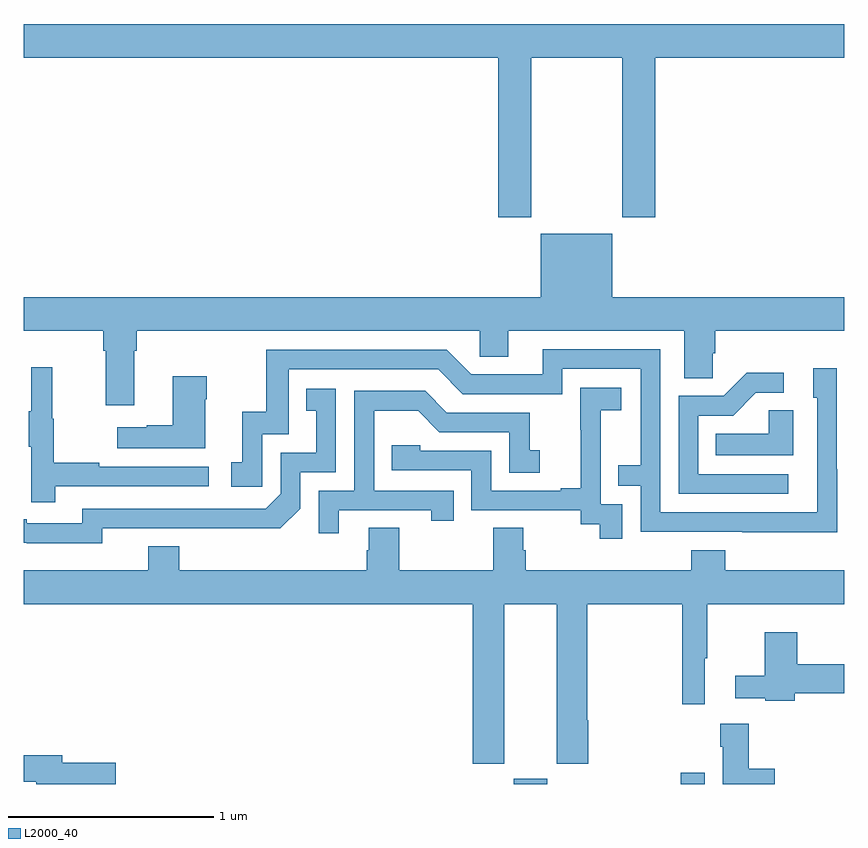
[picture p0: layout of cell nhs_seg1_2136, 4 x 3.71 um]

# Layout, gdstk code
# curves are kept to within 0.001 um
import gdstk
lib = gdstk.Library(unit=1e-6, precision=1e-09)
def R(c, l, rs):  # rectangles x0, y0, x1, y1
    for r in rs: c.add(gdstk.rectangle(r[:2], r[2:], *l))
def P(c, l, *ps):  # polygons
    for p in ps: c.add(gdstk.Polygon(p, *l))
L2000_40 = (2000, 40)

nhs_seg1_2136 = lib.new_cell('nhs_seg1_2136')
R(nhs_seg1_2136, L2000_40, [(229.388,540.199,229.552,540.225), (230.203,540.199,230.319,540.253)])
P(nhs_seg1_2136, L2000_40, [(229.473,543.74),(229.918,543.74),(229.918,542.961),(230.078,542.961),(230.078,543.74),(231,543.74),(231,543.904),(227,543.904),(227,543.74),(229.313,543.74),(229.313,542.961),(229.473,542.961)],
  [(227.539,542.312),(227.552,542.312),(227.552,542.408),(229.224,542.408),(229.224,542.281),(229.363,542.281),(229.363,542.408),(230.219,542.408),(230.219,542.176),(230.358,542.176),(230.358,542.299),(230.372,542.299),(230.372,542.408),(231,542.408),(231,542.572),(229.87,542.572),(229.87,542.881),(229.52,542.881),(229.52,542.572),(227,542.572),(227,542.408),(227.387,542.408),(227.387,542.312),(227.399,542.312),(227.399,542.046),(227.539,542.046)],
  [(230.967,541.733),(230.964,541.733),(230.964,542.227),(230.849,542.227),(230.849,542.082),(230.868,542.082),(230.868,541.524),(230.103,541.524),(230.103,542.319),(229.529,542.319),(229.529,542.196),(229.182,542.196),(229.062,542.316),(228.183,542.316),(228.183,542.014),(228.065,542.014),(228.065,541.767),(228.012,541.767),(228.012,541.647),(228.162,541.647),(228.162,541.905),(228.291,541.905),(228.291,542.22),(229.02,542.22),(229.14,542.1),(229.626,542.1),(229.626,542.223),(230.007,542.223),(230.007,541.754),(229.897,541.754),(229.897,541.653),(230.007,541.653),(230.007,541.428),(230.967,541.427)],
  [(227.153,541.65),(227.902,541.65),(227.902,541.746),(227.369,541.746),(227.369,541.766),(227.146,541.766),(227.146,541.98),(227.138,541.98),(227.138,542.23),(227.036,542.23),(227.036,542.017),(227.025,542.017),(227.025,541.843),(227.036,541.843),(227.036,541.572),(227.153,541.572)],
  [(230.728,541.71),(230.289,541.71),(230.289,541.995),(230.458,541.995),(230.569,542.106),(230.704,542.106),(230.704,542.204),(230.525,542.204),(230.412,542.091),(230.193,542.091),(230.193,541.614),(230.728,541.614)],
  [(227.884,542.075),(227.892,542.075),(227.892,542.188),(227.726,542.188),(227.726,541.949),(227.6,541.949),(227.6,541.939),(227.457,541.939),(227.457,541.835),(227.884,541.835)],
  [(229.917,541.563),(229.812,541.563),(229.812,541.793),(229.814,541.793),(229.814,542.021),(229.912,542.021),(229.912,542.131),(229.714,542.131),(229.714,541.925),(229.715,541.925),(229.715,541.642),(229.619,541.642),(229.619,541.629),(229.278,541.629),(229.278,541.824),(228.933,541.824),(228.933,541.851),(228.793,541.851),(228.793,541.728),(229.182,541.728),(229.182,541.533),(229.716,541.533),(229.716,541.465),(229.809,541.465),(229.809,541.395),(229.917,541.395)],
  [(227.382,541.446),(228.25,541.445),(228.348,541.542),(228.348,541.719),(228.522,541.719),(228.522,542.125),(228.376,542.125),(228.376,542.019),(228.425,542.019),(228.425,541.815),(228.252,541.815),(228.252,541.614),(228.18,541.542),(227.286,541.542),(227.286,541.47),(227.014,541.47),(227.014,541.49),(227,541.49),(227,541.374),(227.382,541.373)],
  [(228.535,541.533),(228.986,541.533),(228.986,541.482),(229.097,541.482),(229.097,541.629),(228.708,541.629),(228.708,542.018),(228.922,542.018),(229.026,541.914),(229.368,541.914),(229.368,541.716),(229.516,541.716),(229.516,541.825),(229.467,541.825),(229.467,542.01),(229.063,542.01),(228.958,542.115),(228.612,542.115),(228.612,541.629),(228.438,541.629),(228.438,541.422),(228.535,541.422)],
  [(230.752,542.021),(230.631,542.021),(230.631,541.906),(230.374,541.906),(230.374,541.802),(230.752,541.802)],
  [(229.342,541.076),(229.598,541.076),(229.598,540.297),(229.751,540.297),(229.751,540.509),(229.746,540.509),(229.746,541.076),(230.211,541.076),(230.211,540.588),(230.32,540.588),(230.32,540.811),(230.332,540.811),(230.332,541.076),(231,541.076),(231,541.24),(230.42,541.24),(230.42,541.339),(230.255,541.339),(230.255,541.24),(229.448,541.24),(229.448,541.338),(229.435,541.338),(229.435,541.448),(229.288,541.448),(229.288,541.24),(228.831,541.24),(228.831,541.448),(228.683,541.448),(228.683,541.338),(228.671,541.338),(228.671,541.24),(227.759,541.24),(227.759,541.357),(227.606,541.357),(227.606,541.24),(227,541.24),(227,541.076),(229.19,541.076),(229.19,540.297),(229.342,540.297)],
  [(230.758,540.641),(231,540.641),(231,540.783),(230.771,540.783),(230.771,540.94),(230.612,540.94),(230.612,540.727),(230.469,540.727),(230.469,540.618),(230.616,540.618),(230.616,540.606),(230.758,540.606)],
  [(230.662,540.274),(230.534,540.274),(230.534,540.493),(230.396,540.493),(230.396,540.38),(230.408,540.38),(230.408,540.199),(230.662,540.199)],
  [(227.449,540.302),(227.188,540.302),(227.188,540.338),(227,540.338),(227,540.21),(227.06,540.21),(227.06,540.199),(227.449,540.199)])

lib.write_gds('nhs_seg1_2136.gds')
